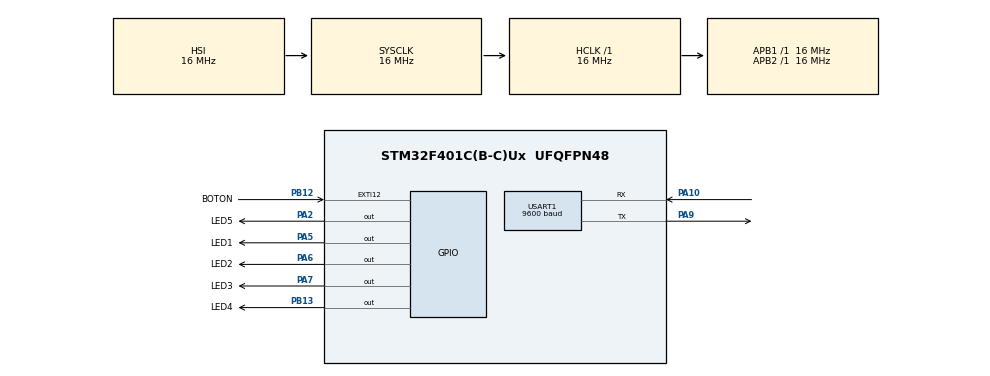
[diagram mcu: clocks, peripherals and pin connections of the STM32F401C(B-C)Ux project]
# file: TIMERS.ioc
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Dma.Request0=USART1_RX
Dma.USART1_RX.0.Direction=DMA_PERIPH_TO_MEMORY
Dma.USART1_RX.0.FIFOMode=DMA_FIFOMODE_DISABLE
Dma.USART1_RX.0.Instance=DMA2_Stream2
Dma.USART1_RX.0.MemDataAlignment=DMA_MDATAALIGN_BYTE
Dma.USART1_RX.0.MemInc=DMA_MINC_ENABLE
Dma.USART1_RX.0.Mode=DMA_NORMAL
Dma.USART1_RX.0.PeriphDataAlignment=DMA_PDATAALIGN_BYTE
Dma.USART1_RX.0.PeriphInc=DMA_PINC_DISABLE
Dma.USART1_RX.0.Priority=DMA_PRIORITY_LOW
Mcu.Family=STM32F4
Mcu.Name=STM32F401C(B-C)Ux
Mcu.Package=UFQFPN48
NVIC.DMA2_Stream2_IRQn=true\:0\:0\:false\:false\:true\:false\:true\:true
NVIC.EXTI15_10_IRQn=true\:0\:0\:true\:false\:true\:true\:true\:true
NVIC.PriorityGroup=NVIC_PRIORITYGROUP_2
NVIC.TIM1_UP_TIM10_IRQn=true\:1\:0\:true\:false\:true\:true\:true\:true
NVIC.USART1_IRQn=true\:1\:0\:true\:false\:true\:true\:true\:true
PA10.Mode=Asynchronous
PA10.Signal=USART1_RX
PA2.GPIO_Label=LED5
PA2.Signal=GPIO_Output
PA5.GPIO_Label=LED1
PA5.Signal=GPIO_Output
PA6.GPIO_Label=LED2
PA6.Signal=GPIO_Output
PA7.GPIO_Label=LED3
PA7.Signal=GPIO_Output
PA9.Mode=Asynchronous
PA9.Signal=USART1_TX
PB12.GPIO_Label=BOTON
PB12.GPIO_ModeDefaultEXTI=GPIO_MODE_IT_RISING
PB12.GPIO_PuPd=GPIO_PULLDOWN
PB12.Signal=GPXTI12
PB13.GPIO_Label=LED4
PB13.Signal=GPIO_Output
ProjectManager.HeapSize=0x200
ProjectManager.StackSize=0x400
ProjectManager.TargetToolchain=CMake
RCC.AHBFreq_Value=16000000
RCC.APB1Freq_Value=16000000
RCC.APB2Freq_Value=16000000
RCC.CortexFreq_Value=16000000
RCC.HSE_VALUE=25000000
RCC.HSI_VALUE=16000000
RCC.LSE_VALUE=32768
RCC.SYSCLKFreq_VALUE=16000000
RCC.VCOOutputFreq_Value=192000000
TIM1.AutoReloadPreload=TIM_AUTORELOAD_PRELOAD_ENABLE
TIM1.Period=100-1
TIM1.Prescaler=16000-1
USART1.BaudRate=9600
USART1.VirtualMode=VM_ASYNC
VP_TIM1_VS_ClockSourceINT.Mode=Internal
board=custom

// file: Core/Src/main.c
/* USER CODE BEGIN Header */
/**
  ******************************************************************************
  * @file           : main.c
  * @brief          : Main program body
  ******************************************************************************
  * @attention
  *
  * Copyright (c) 2026 STMicroelectronics.
  * All rights reserved.
  *
  * This software is licensed under terms that can be found in the LICENSE file
  * in the root directory of this software component.
  * If no LICENSE file comes with this software, it is provided AS-IS.
  *
  ******************************************************************************
  */
/* USER CODE END Header */
#include "main.h"

/* USER CODE BEGIN Includes */
#include "stdio.h"
#include "string.h"
#include "stdlib.h"
#include "stdbool.h"
#include "math.h"
#include "uart.h"
#include "UARTRX.h"

/* USER CODE END Includes */

TIM_HandleTypeDef htim1;

UART_HandleTypeDef huart1;
DMA_HandleTypeDef hdma_usart1_rx;

void SystemClock_Config(void);
static void MX_GPIO_Init(void);
static void MX_DMA_Init(void);
static void MX_TIM1_Init(void);
static void MX_USART1_UART_Init(void);

/* USER CODE BEGIN 0 */
void procesa_rx(void)
{
  char *cmd = (char *)UARTRX1.trama_rx;

    cmd[strcspn(cmd, "\r\n")] = '\0';

    if (strcmp(cmd, "LED ON") == 0)
    {
        HAL_GPIO_WritePin(LED5_GPIO_Port, LED5_Pin, GPIO_PIN_SET);
        uartx_write_text(&huart1, "LED encendido\r\n");
    }
    else if (strcmp(cmd, "LED OFF") == 0)
    {
        HAL_GPIO_WritePin(LED5_GPIO_Port, LED5_Pin, GPIO_PIN_RESET);
        uartx_write_text(&huart1, "LED apagado\r\n");
    }
    else
    {
        uartx_write_text(&huart1, "No valido\r\n");
    }

}
/* USER CODE END 0 */

int main(void)
{

  /* MCU Configuration--------------------------------------------------------*/

  /* Reset of all peripherals, Initializes the Flash interface and the Systick. */
  HAL_Init();

  /* Configure the system clock */
  SystemClock_Config();

  /* Initialize all configured peripherals */
  MX_GPIO_Init();
  MX_DMA_Init();
  MX_TIM1_Init();
  MX_USART1_UART_Init();
  /* USER CODE BEGIN 2 */
  HAL_TIM_Base_Start_IT(&htim1);
  uartRX_it_idle_dma_init( &UARTRX1);
  /* USER CODE END 2 */

  /* Infinite loop */
  while (1)
  {

    /* USER CODE BEGIN 3 */
    HAL_GPIO_TogglePin(LED1_GPIO_Port, LED1_Pin);
    HAL_Delay(200);

    if (UARTRX1.flag_rx==1)
	  {
	     //uartx_write_text(&huart1, UARTRX1.trama_rx);
	    procesa_rx(); //procedimeinto donde se procesan los datos
		  uartRX_DMA_Re_init(&UARTRX1);
	  }
  }
  /* USER CODE END 3 */
}

void SystemClock_Config(void)
{
  RCC_OscInitTypeDef RCC_OscInitStruct = {0};
  RCC_ClkInitTypeDef RCC_ClkInitStruct = {0};

  /** Configure the main internal regulator output voltage
  */
  __HAL_RCC_PWR_CLK_ENABLE();
  __HAL_PWR_VOLTAGESCALING_CONFIG(PWR_REGULATOR_VOLTAGE_SCALE2);

  /** Initializes the RCC Oscillators according to the specified parameters
  * in the RCC_OscInitTypeDef structure.
  */
  RCC_OscInitStruct.OscillatorType = RCC_OSCILLATORTYPE_HSI;
  RCC_OscInitStruct.HSIState = RCC_HSI_ON;
  RCC_OscInitStruct.HSICalibrationValue = RCC_HSICALIBRATION_DEFAULT;
  RCC_OscInitStruct.PLL.PLLState = RCC_PLL_NONE;
  if (HAL_RCC_OscConfig(&RCC_OscInitStruct) != HAL_OK)
  {
    Error_Handler();
  }

  /** Initializes the CPU, AHB and APB buses clocks
  */
  RCC_ClkInitStruct.ClockType = RCC_CLOCKTYPE_HCLK|RCC_CLOCKTYPE_SYSCLK
                              |RCC_CLOCKTYPE_PCLK1|RCC_CLOCKTYPE_PCLK2;
  RCC_ClkInitStruct.SYSCLKSource = RCC_SYSCLKSOURCE_HSI;
  RCC_ClkInitStruct.AHBCLKDivider = RCC_SYSCLK_DIV1;
  RCC_ClkInitStruct.APB1CLKDivider = RCC_HCLK_DIV1;
  RCC_ClkInitStruct.APB2CLKDivider = RCC_HCLK_DIV1;

  if (HAL_RCC_ClockConfig(&RCC_ClkInitStruct, FLASH_LATENCY_0) != HAL_OK)
  {
    Error_Handler();
  }
}

static void MX_TIM1_Init(void)
{

  TIM_ClockConfigTypeDef sClockSourceConfig = {0};
  TIM_MasterConfigTypeDef sMasterConfig = {0};

  htim1.Instance = TIM1;
  htim1.Init.Prescaler = 16000-1;
  htim1.Init.CounterMode = TIM_COUNTERMODE_UP;
  htim1.Init.Period = 100-1;
  htim1.Init.ClockDivision = TIM_CLOCKDIVISION_DIV1;
  htim1.Init.RepetitionCounter = 0;
  htim1.Init.AutoReloadPreload = TIM_AUTORELOAD_PRELOAD_ENABLE;
  if (HAL_TIM_Base_Init(&htim1) != HAL_OK)
  {
    Error_Handler();
  }
  sClockSourceConfig.ClockSource = TIM_CLOCKSOURCE_INTERNAL;
  if (HAL_TIM_ConfigClockSource(&htim1, &sClockSourceConfig) != HAL_OK)
  {
    Error_Handler();
  }
  sMasterConfig.MasterOutputTrigger = TIM_TRGO_RESET;
  sMasterConfig.MasterSlaveMode = TIM_MASTERSLAVEMODE_DISABLE;
  if (HAL_TIMEx_MasterConfigSynchronization(&htim1, &sMasterConfig) != HAL_OK)
  {
    Error_Handler();
  }

}

static void MX_USART1_UART_Init(void)
{

  huart1.Instance = USART1;
  huart1.Init.BaudRate = 9600;
  huart1.Init.WordLength = UART_WORDLENGTH_8B;
  huart1.Init.StopBits = UART_STOPBITS_1;
  huart1.Init.Parity = UART_PARITY_NONE;
  huart1.Init.Mode = UART_MODE_TX_RX;
  huart1.Init.HwFlowCtl = UART_HWCONTROL_NONE;
  huart1.Init.OverSampling = UART_OVERSAMPLING_16;
  if (HAL_UART_Init(&huart1) != HAL_OK)
  {
    Error_Handler();
  }

}

static void MX_DMA_Init(void)
{

  /* DMA controller clock enable */
  __HAL_RCC_DMA2_CLK_ENABLE();

  /* DMA interrupt init */
  /* DMA2_Stream2_IRQn interrupt configuration */
  HAL_NVIC_SetPriority(DMA2_Stream2_IRQn, 0, 0);
  HAL_NVIC_EnableIRQ(DMA2_Stream2_IRQn);

}

static void MX_GPIO_Init(void)
{
  GPIO_InitTypeDef GPIO_InitStruct = {0};

  /* GPIO Ports Clock Enable */
  __HAL_RCC_GPIOA_CLK_ENABLE();
  __HAL_RCC_GPIOB_CLK_ENABLE();

  /*Configure GPIO pin Output Level */
  HAL_GPIO_WritePin(GPIOA, LED5_Pin|LED1_Pin|LED2_Pin|LED3_Pin, GPIO_PIN_RESET);

  /*Configure GPIO pin Output Level */
  HAL_GPIO_WritePin(LED4_GPIO_Port, LED4_Pin, GPIO_PIN_RESET);

  /*Configure GPIO pins : LED5_Pin LED1_Pin LED2_Pin LED3_Pin */
  GPIO_InitStruct.Pin = LED5_Pin|LED1_Pin|LED2_Pin|LED3_Pin;
  GPIO_InitStruct.Mode = GPIO_MODE_OUTPUT_PP;
  GPIO_InitStruct.Pull = GPIO_NOPULL;
  GPIO_InitStruct.Speed = GPIO_SPEED_FREQ_LOW;
  HAL_GPIO_Init(GPIOA, &GPIO_InitStruct);

  /*Configure GPIO pin : BOTON_Pin */
  GPIO_InitStruct.Pin = BOTON_Pin;
  GPIO_InitStruct.Mode = GPIO_MODE_IT_RISING;
  GPIO_InitStruct.Pull = GPIO_PULLDOWN;
  HAL_GPIO_Init(BOTON_GPIO_Port, &GPIO_InitStruct);

  /*Configure GPIO pin : LED4_Pin */
  GPIO_InitStruct.Pin = LED4_Pin;
  GPIO_InitStruct.Mode = GPIO_MODE_OUTPUT_PP;
  GPIO_InitStruct.Pull = GPIO_NOPULL;
  GPIO_InitStruct.Speed = GPIO_SPEED_FREQ_LOW;
  HAL_GPIO_Init(LED4_GPIO_Port, &GPIO_InitStruct);

  /* EXTI interrupt init*/
  HAL_NVIC_SetPriority(EXTI15_10_IRQn, 0, 0);
  HAL_NVIC_EnableIRQ(EXTI15_10_IRQn);

}

void Error_Handler(void)
{
  __disable_irq();
  while (1)
  {
  }
}
